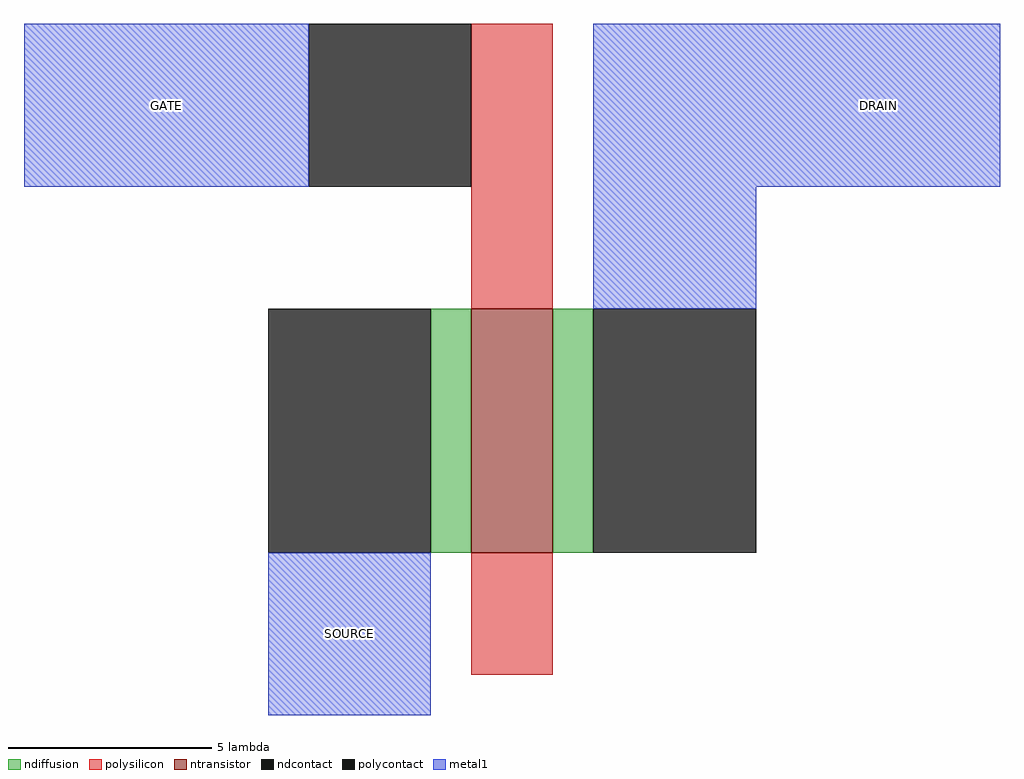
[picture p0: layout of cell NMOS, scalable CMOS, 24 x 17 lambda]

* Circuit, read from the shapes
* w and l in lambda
.subckt NMOS DRAIN GATE SOURCE
M1 DRAIN GATE SOURCE VSUBS nfet w=6 l=2
.ends

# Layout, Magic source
magic
tech scmos
<< ntransistor >>
rect 11 -14 13 -8
<< ndiffusion >>
rect 10 -14 11 -8
rect 13 -14 14 -8
<< ndcontact >>
rect 6 -14 10 -8
rect 14 -14 18 -8
<< polysilicon >>
rect 11 -8 13 -1
rect 11 -17 13 -14
<< polycontact >>
rect 7 -5 11 -1
<< metal1 >>
rect 0 -5 7 -1
rect 14 -5 24 -1
rect 14 -8 18 -5
rect 6 -18 10 -14
<< labels >>
rlabel metal1 0 -5 7 -1 4 GATE
rlabel metal1 18 -5 24 -1 6 DRAIN
rlabel metal1 6 -18 10 -14 1 SOURCE
<< end >>
